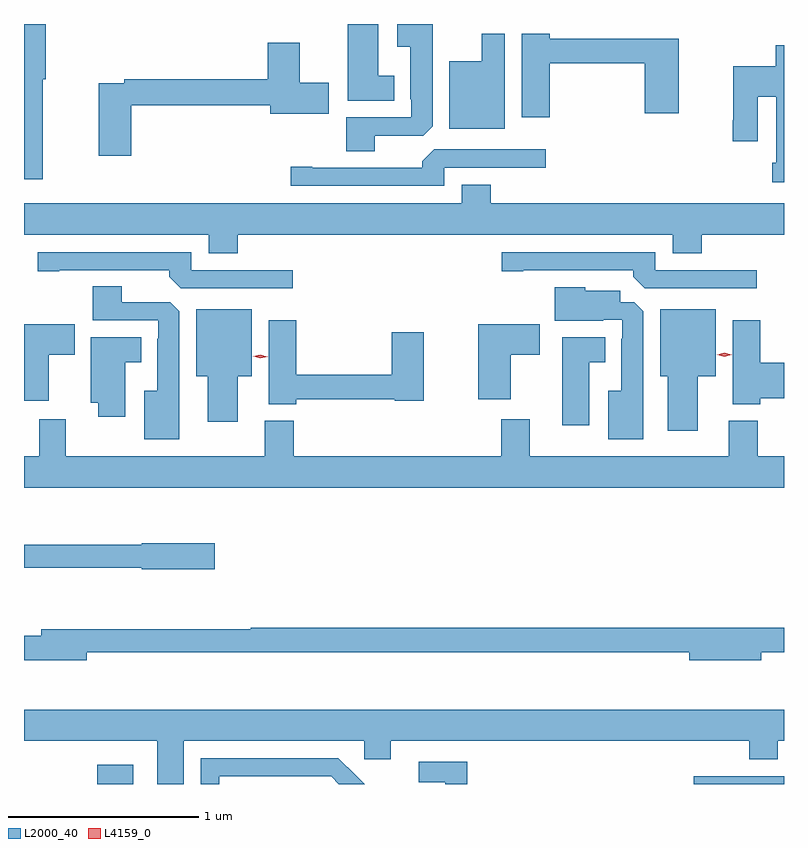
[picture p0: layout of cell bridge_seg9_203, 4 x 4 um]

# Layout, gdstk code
import gdstk
lib = gdstk.Library(unit=1e-6, precision=1e-09)
def R(c, l, rs):  # rectangles x0, y0, x1, y1
    for r in rs: c.add(gdstk.rectangle(r[:2], r[2:], *l))
def P(c, l, *ps):  # polygons
    for p in ps: c.add(gdstk.Polygon(p, *l))
L2000_40 = (2000, 40)
L4159_0 = (4159, 0)

bridge_seg9_203 = lib.new_cell('bridge_seg9_203')
R(bridge_seg9_203, L2000_40, [(167.779,1197.524,167.968,1197.625), (170.919,1197.524,171.393,1197.564)])
P(bridge_seg9_203, L2000_40, [(167.492,1201.232),(167.507,1201.232),(167.507,1201.524),(167.393,1201.524),(167.393,1200.708),(167.492,1200.708)],
  [(169.342,1201.252),(169.258,1201.252),(169.258,1201.524),(169.097,1201.524),(169.097,1201.121),(169.342,1201.121)],
  [(169.24,1200.936),(169.494,1200.936),(169.543,1200.985),(169.543,1201.524),(169.358,1201.524),(169.358,1201.403),(169.427,1201.403),(169.427,1201.129),(169.431,1201.129),(169.431,1201.032),(169.088,1201.032),(169.088,1200.853),(169.24,1200.853)],
  [(169.924,1201.474),(169.802,1201.474),(169.802,1201.327),(169.631,1201.327),(169.631,1200.974),(169.924,1200.974)],
  [(170.159,1201.318),(170.66,1201.318),(170.66,1201.053),(170.838,1201.053),(170.838,1201.447),(170.159,1201.447),(170.159,1201.474),(170.012,1201.474),(170.012,1201.032),(170.159,1201.032)],
  [(167.957,1201.096),(168.689,1201.096),(168.689,1201.052),(168.997,1201.052),(168.997,1201.215),(168.844,1201.215),(168.844,1201.426),(168.677,1201.426),(168.677,1201.232),(167.92,1201.232),(167.92,1201.212),(167.786,1201.212),(167.786,1200.831),(167.957,1200.831)],
  [(171.393,1201.411),(171.35,1201.411),(171.35,1201.302),(171.127,1201.302),(171.127,1201.018),(171.122,1201.018),(171.122,1200.906),(171.256,1200.906),(171.256,1201.142),(171.351,1201.142),(171.351,1200.793),(171.331,1200.793),(171.331,1200.69),(171.393,1200.69)],
  [(169.605,1200.768),(170.14,1200.768),(170.14,1200.864),(169.551,1200.864),(169.49,1200.802),(169.49,1200.768),(168.91,1200.768),(168.91,1200.773),(168.798,1200.773),(168.798,1200.672),(169.605,1200.672)],
  [(168.518,1200.416),(170.807,1200.416),(170.807,1200.317),(170.96,1200.317),(170.96,1200.416),(171.393,1200.416),(171.393,1200.58),(169.85,1200.58),(169.85,1200.679),(169.697,1200.679),(169.697,1200.58),(167.393,1200.58),(167.393,1200.416),(168.365,1200.416),(168.365,1200.317),(168.518,1200.317)],
  [(168.808,1200.228),(168.273,1200.228),(168.273,1200.324),(167.466,1200.324),(167.466,1200.223),(167.578,1200.223),(167.578,1200.228),(168.158,1200.228),(168.158,1200.194),(168.219,1200.132),(168.808,1200.132)],
  [(171.25,1200.228),(170.715,1200.228),(170.715,1200.324),(169.908,1200.324),(169.908,1200.223),(170.02,1200.223),(170.02,1200.228),(170.6,1200.228),(170.6,1200.194),(170.661,1200.132),(171.25,1200.132)],
  [(168.211,1200.011),(168.162,1200.06),(167.908,1200.06),(167.908,1200.143),(167.756,1200.143),(167.756,1199.964),(168.099,1199.964),(168.099,1199.867),(168.095,1199.867),(168.095,1199.593),(168.026,1199.593),(168.026,1199.339),(168.211,1199.339)],
  [(170.653,1200.011),(170.604,1200.06),(170.53,1200.06),(170.53,1200.121),(170.346,1200.121),(170.346,1200.139),(170.186,1200.139),(170.186,1199.963),(170.441,1199.963),(170.441,1199.967),(170.541,1199.967),(170.541,1199.867),(170.537,1199.867),(170.537,1199.593),(170.468,1199.593),(170.468,1199.339),(170.653,1199.339)],
  [(168.517,1199.669),(168.592,1199.669),(168.592,1200.022),(168.299,1200.022),(168.299,1199.669),(168.359,1199.669),(168.359,1199.43),(168.517,1199.43)],
  [(170.938,1199.669),(171.034,1199.669),(171.034,1200.022),(170.741,1200.022),(170.741,1199.669),(170.78,1199.669),(170.78,1199.382),(170.938,1199.382)],
  [(171.269,1199.554),(171.393,1199.554),(171.393,1199.74),(171.269,1199.74),(171.269,1199.965),(171.122,1199.965),(171.122,1199.522),(171.269,1199.522)],
  [(168.827,1199.55),(169.344,1199.55),(169.344,1199.542),(169.498,1199.542),(169.498,1199.902),(169.328,1199.902),(169.328,1199.678),(168.827,1199.678),(168.827,1199.965),(168.68,1199.965),(168.68,1199.522),(168.827,1199.522)],
  [(167.524,1199.782),(167.659,1199.782),(167.659,1199.944),(167.393,1199.944),(167.393,1199.541),(167.524,1199.541)],
  [(169.954,1199.782),(170.107,1199.782),(170.107,1199.944),(169.784,1199.944),(169.784,1199.549),(169.954,1199.549)],
  [(170.368,1199.744),(170.452,1199.744),(170.452,1199.875),(170.225,1199.875),(170.225,1199.412),(170.368,1199.412)],
  [(167.926,1199.744),(168.01,1199.744),(168.01,1199.875),(167.744,1199.875),(167.744,1199.531),(167.783,1199.531),(167.783,1199.457),(167.926,1199.457)],
  [(171.393,1199.248),(171.254,1199.248),(171.254,1199.437),(171.101,1199.437),(171.101,1199.248),(170.056,1199.248),(170.056,1199.443),(169.904,1199.443),(169.904,1199.248),(168.812,1199.248),(168.812,1199.437),(168.659,1199.437),(168.659,1199.248),(167.614,1199.248),(167.614,1199.443),(167.474,1199.443),(167.474,1199.248),(167.393,1199.248),(167.393,1199.084),(171.393,1199.084)],
  [(168.397,1198.791),(168.012,1198.791),(168.012,1198.783),(167.393,1198.783),(167.393,1198.662),(168.012,1198.662),(168.012,1198.654),(168.397,1198.654)],
  [(167.722,1198.218),(170.894,1198.218),(170.894,1198.175),(171.274,1198.175),(171.274,1198.218),(171.393,1198.218),(171.393,1198.346),(168.587,1198.346),(168.587,1198.339),(167.483,1198.339),(167.483,1198.305),(167.393,1198.305),(167.393,1198.175),(167.722,1198.175)],
  [(168.235,1197.752),(169.185,1197.752),(169.185,1197.654),(169.324,1197.654),(169.324,1197.752),(171.209,1197.752),(171.209,1197.653),(171.361,1197.653),(171.361,1197.752),(171.393,1197.752),(171.393,1197.916),(167.393,1197.916),(167.393,1197.752),(168.095,1197.752),(168.095,1197.524),(168.235,1197.524)],
  [(168.421,1197.564),(169.009,1197.564),(169.049,1197.524),(169.186,1197.524),(169.14,1197.57),(169.139,1197.569),(169.048,1197.66),(168.324,1197.66),(168.324,1197.524),(168.421,1197.524)],
  [(169.727,1197.642),(169.47,1197.642),(169.47,1197.534),(169.61,1197.534),(169.61,1197.524),(169.727,1197.524)])
P(bridge_seg9_203, L4159_0, [(171.078,1199.773),(171.041,1199.784),(171.04,1199.784),(171.041,1199.784),(171.079,1199.793),(171.117,1199.782),(171.117,1199.782),(171.117,1199.782)],
  [(168.637,1199.764),(168.599,1199.775),(168.599,1199.775),(168.599,1199.775),(168.637,1199.784),(168.675,1199.773),(168.675,1199.773),(168.675,1199.773)])

lib.write_gds('bridge_seg9_203.gds')
